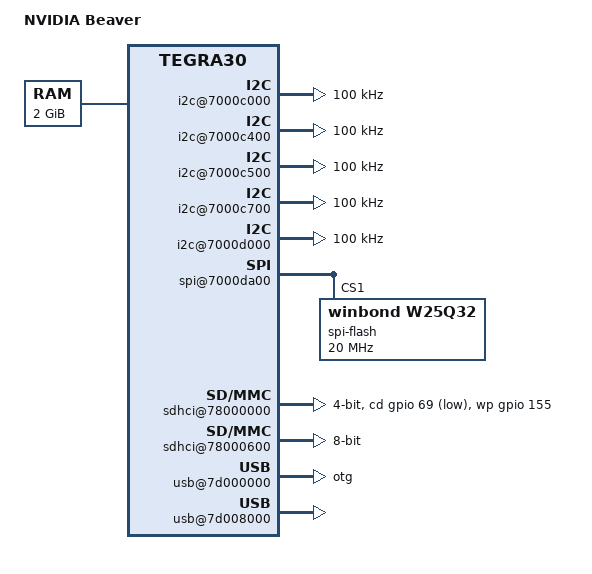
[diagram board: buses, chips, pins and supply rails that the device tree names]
/dts-v1/;

#include "tegra30.dtsi"

/ {
	model = "NVIDIA Beaver";
	compatible = "nvidia,beaver", "nvidia,tegra30";

	aliases {
		i2c0 = "/i2c@7000d000";
		i2c1 = "/i2c@7000c000";
		i2c2 = "/i2c@7000c400";
		i2c3 = "/i2c@7000c500";
		i2c4 = "/i2c@7000c700";
		sdhci0 = "/sdhci@78000600";
		sdhci1 = "/sdhci@78000000";
		usb0 = "/usb@7d000000";
		usb1 = "/usb@7d008000";
	};

	memory {
		device_type = "memory";
		reg = <0x80000000 0x7ff00000>;
	};

	i2c@7000c000 {
		status = "okay";
		clock-frequency = <100000>;
	};

	i2c@7000c400 {
		status = "okay";
		clock-frequency = <100000>;
	};

	i2c@7000c500 {
		status = "okay";
		clock-frequency = <100000>;
	};

	i2c@7000c700 {
		status = "okay";
		clock-frequency = <100000>;
	};

	i2c@7000d000 {
		status = "okay";
		clock-frequency = <100000>;
	};

	spi@7000da00 {
		status = "okay";
		spi-max-frequency = <25000000>;
		spi-flash@1 {
			compatible = "winbond,w25q32";
			reg = <1>;
			spi-max-frequency = <20000000>;
		};
	};

	sdhci@78000000 {
		status = "okay";
		cd-gpios = <&gpio 69 1>; /* gpio PI5 */
		wp-gpios = <&gpio 155 0>; /* gpio PT3 */
		power-gpios = <&gpio 31 0>; /* gpio PD7 */
		bus-width = <4>;
	};

	sdhci@78000600 {
		status = "okay";
		bus-width = <8>;
	};

	usb@7d000000 {
		status = "okay";
		dr_mode = "otg";
		nvidia,vbus-gpio = <&gpio 238 0>; /* gpio DD6, PEX_L1_CLKREQ */
	};

	usb@7d008000 {
		nvidia,vbus-gpio = <&gpio 236 0>; /* PDD4 */
		status = "okay";
	};
};
